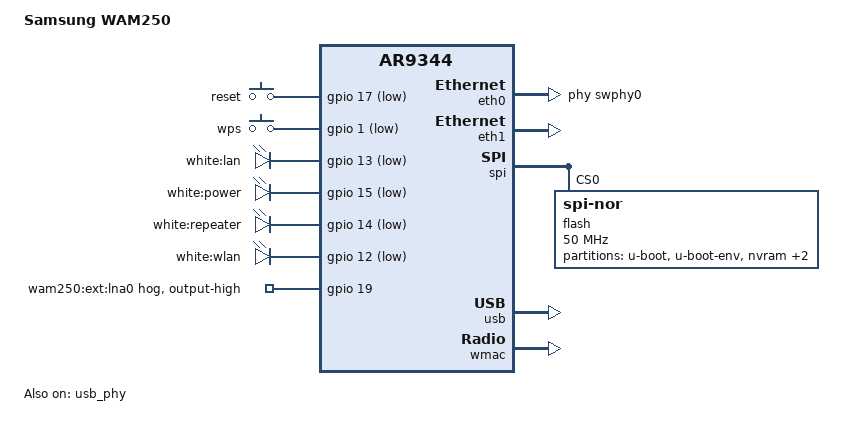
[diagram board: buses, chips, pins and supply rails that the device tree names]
// SPDX-License-Identifier: GPL-2.0-or-later OR MIT

#include "ar9344.dtsi"

#include <dt-bindings/gpio/gpio.h>
#include <dt-bindings/input/input.h>

/ {
	model = "Samsung WAM250";
	compatible = "samsung,wam250", "qca,ar9344";

	aliases {
		led-boot = &led_power;
		led-failsafe = &led_power;
		led-running = &led_power;
		led-upgrade = &led_power;
	};

	keys {
		compatible = "gpio-keys";

		reset {
			label = "reset";
			linux,code = <KEY_RESTART>;
			gpios = <&gpio 17 GPIO_ACTIVE_LOW>;
			debounce-interval = <60>;
		};

		wps {
			label = "wps";
			linux,code = <KEY_WPS_BUTTON>;
			gpios = <&gpio 1 GPIO_ACTIVE_LOW>;
			debounce-interval = <60>;
		};
	};

	leds {
		compatible = "gpio-leds";

		lan {
			label = "white:lan";
			gpios = <&gpio 13 GPIO_ACTIVE_LOW>;
		};

		led_power: power {
			label = "white:power";
			gpios = <&gpio 15 GPIO_ACTIVE_LOW>;
			default-state = "keep";
		};

		repeater {
			label = "white:repeater";
			gpios = <&gpio 14 GPIO_ACTIVE_LOW>;
		};

		wlan {
			label = "white:wlan";
			gpios = <&gpio 12 GPIO_ACTIVE_LOW>;
			linux,default-trigger = "phy0tpt";
		};
	};
};

&eth0 {
	status = "okay";

	phy-handle = <&swphy0>;

	mtd-mac-address = <&art 0x1002>;
	mtd-mac-address-increment = <1>;

	gmac-config {
		device = <&gmac>;
		switch-phy-swap = <1>;
	};
};

&eth1 {
	status = "okay";

	mtd-mac-address = <&art 0x1002>;
};

&gpio {
	lna0 {
		line-name = "wam250:ext:lna0";
		gpios = <19 GPIO_ACTIVE_HIGH>;
		output-high;
		gpio-hog;
	};
};

&ref {
	clock-frequency = <40000000>;
};

&spi {
	status = "okay";

	flash@0 {
		compatible = "jedec,spi-nor";
		reg = <0>;
		spi-max-frequency = <50000000>;
		m25p,fast-read;

		partitions {
			compatible = "fixed-partitions";
			#address-cells = <1>;
			#size-cells = <1>;

			partition@0 {
				label = "u-boot";
				reg = <0x000000 0x040000>;
				read-only;
			};

			partition@40000 {
				label = "u-boot-env";
				reg = <0x040000 0x010000>;
			};

			partition@50000 {
				label = "nvram";
				reg = <0x050000 0x020000>;
				read-only;
			};

			partition@70000 {
				compatible = "denx,uimage";
				label = "firmware";
				reg = <0x070000 0xf80000>;
			};

			art: partition@ff0000 {
				label = "art";
				reg = <0xff0000 0x010000>;
				read-only;
			};
		};
	};
};

&usb {
	status = "okay";
};

&usb_phy {
	status = "okay";
};


&wmac {
	status = "okay";

	mtd-cal-data = <&art 0x1000>;
};
